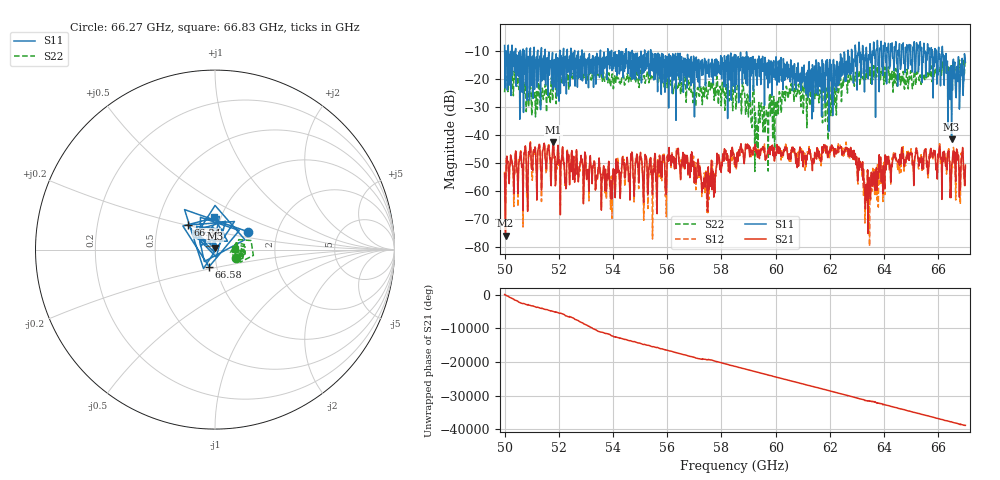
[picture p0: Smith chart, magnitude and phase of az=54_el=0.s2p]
!Created with skrf (http://scikit-rf.org).
# GHz S RI R 50.0
!freq ReS11 ImS11 ReS21 ImS21 ReS12 ImS12 ReS22 ImS22
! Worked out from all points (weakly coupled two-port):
!   1001 points, 50 GHz to 67 GHz, reference 50 ohm
!   highest |S21| = -42.57 dB at 51.8 GHz (marker M1); lowest = -75.9 dB at 50.03 GHz (marker M2)
!   lowest |S11| = -41.6 dB at 66.49 GHz (marker M3), VSWR 1.02, Z = 50.1 + j0.826 ohm
!   |S11| at or under -10 dB: 52.86 GHz to 53.53 GHz (678.6 MHz wide, 1.28 % of centre); 55.39 GHz to 62.66 GHz (7.274 GHz wide, 12.3 % of centre); 66.16 GHz to end of sweep (the widest 3 of 63)
!   |S22| runs from -53.0 to -13.3 dB; largest |S21 - S12| = 0.0023
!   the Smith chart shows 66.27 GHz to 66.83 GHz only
!   S11 on the Smith chart (normalised r, x): 66.27 GHz: 1.41, +0.30; 66.34 GHz: 0.71, +0.20; 66.58 GHz: 0.92, -0.18; 66.83 GHz: 0.93, +0.35
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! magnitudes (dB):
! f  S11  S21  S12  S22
! 50 GHz  -8.2  -53.7  -53.1  -24.8
! 50.03 GHz  -10.6  -75.9  -64.5  -20.4
! 51.8 GHz  -13.4  -42.6  -43.1  -22.4
! 52.84 GHz  -12.6  -49.8  -49.1  -19.5
! 55.68 GHz  -13.2  -52.5  -53.5  -21.2
! 56.38 GHz  -17.2  -46.7  -47.3  -22.8
! 57.48 GHz  -16.4  -67.1  -61.8  -27.2
! 57.89 GHz  -14.0  -47.1  -47.6  -29.3
! 58.5 GHz  -24.8  -49.1  -51.8  -23.9
! 59.11 GHz  -12.4  -45.5  -46.6  -35.8
! 59.32 GHz  -22.3  -47.1  -46.3  -36.1
! 60.34 GHz  -14.7  -44.3  -45.0  -25.5
! 61.34 GHz  -34.3  -49.6  -50.5  -26.2
! 62.85 GHz  -12.9  -48.6  -48.7  -18.8
! 63.38 GHz  -17.9  -58.5  -52.7  -19.8
! 64.18 GHz  -12.1  -49.5  -50.3  -17.6
! 66.27 GHz  -13.7  -51.1  -50.5  -18.1
! 66.34 GHz  -13.7  -48.0  -45.8  -17.5
! 66.49 GHz  -41.6  -50.9  -54.1  -15.4
! 66.58 GHz  -19.9  -46.0  -45.6  -15.6
! 66.83 GHz  -14.8  -54.6  -51.3  -19.0
! 67 GHz  -14.2  -50.8  -51.2  -14.5
